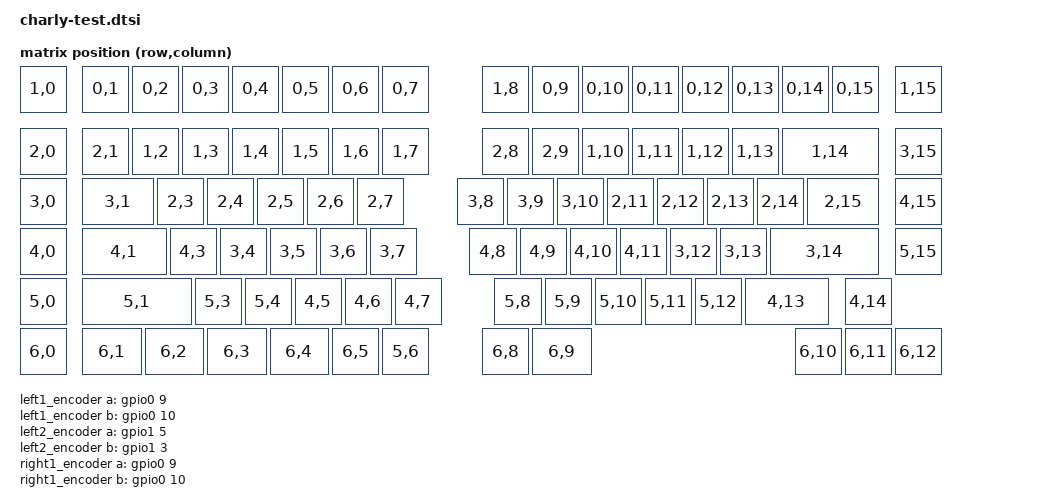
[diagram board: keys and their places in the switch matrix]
#include <dt-bindings/zmk/matrix_transform.h>
#include <dt-bindings/input/input-event-codes.h>

// chosen node
/ {
    chosen {
        zmk,kscan = &kscan0;
    };
};

//matrix transoform
/ {
    default_transform: keymap_transform0 {
        compatible = "zmk,matrix-transform";
        columns = <16>;
        rows = <7>;
        map = <
        RC(1,0) RC(0,1) RC(0,2) RC(0,3) RC(0,4) RC(0,5) RC(0,6) RC(0,7)     RC(1,8) RC(0,9) RC(0,10) RC(0,11) RC(0,12) RC(0,13) RC(0,14) RC(0,15) RC(1,15) 
        RC(2,0) RC(2,1) RC(1,2) RC(1,3) RC(1,4) RC(1,5) RC(1,6) RC(1,7)     RC(2,8) RC(2,9) RC(1,10) RC(1,11) RC(1,12) RC(1,13) RC(1,14)          RC(3,15)
        RC(3,0) RC(3,1)         RC(2,3) RC(2,4) RC(2,5) RC(2,6) RC(2,7)     RC(3,8) RC(3,9) RC(3,10) RC(2,11) RC(2,12) RC(2,13) RC(2,14) RC(2,15) RC(4,15)
        RC(4,0) RC(4,1)         RC(4,3) RC(3,4) RC(3,5) RC(3,6) RC(3,7)     RC(4,8) RC(4,9) RC(4,10) RC(4,11) RC(3,12) RC(3,13) RC(3,14)          RC(5,15)
        RC(5,0) RC(5,1)         RC(5,3) RC(5,4) RC(4,5) RC(4,6) RC(4,7)     RC(5,8) RC(5,9) RC(5,10) RC(5,11) RC(5,12) RC(4,13)          RC(4,14)
        RC(6,0)     RC(6,1) RC(6,2) RC(6,3) RC(6,4)     RC(6,5) RC(5,6)     RC(6,8) RC(6,9)                                          RC(6,10) RC(6,11) RC(6,12)
        >;
    };
};

// kscan
/ {
    kscan0: kscan0 {
        compatible = "zmk,kscan-gpio-charlieplex";
        zmk,physical-layout = &physical_layout0;
        wakeup-source;
    };
};

// 物理レイアウトの定義を新設 
/ {
    physical_layout0: physical_layout0 {
        compatible = "zmk,physical-layout";
        display-name = "Default Layout";
        transform = <&default_transform>; // 既存の transform を参照 
        kscan = <&kscan0>;                // 既存の kscan を参照 [cite: 11]
        keys
            //                w   h    x    y     rot  rx   ry
            // Row 0
            = <&key_physical_attrs 100 100    0    0     0    0    0> // R0C0
            , <&key_physical_attrs 100 100  125    0     0    0    0> // R0C1
            , <&key_physical_attrs 100 100  225    0     0    0    0> // R0C2
            , <&key_physical_attrs 100 100  325    0     0    0    0> // R0C3
            , <&key_physical_attrs 100 100  425    0     0    0    0> // R0C4
            , <&key_physical_attrs 100 100  525    0     0    0    0> // R0C5
            , <&key_physical_attrs 100 100  625    0     0    0    0> // R0C6
            , <&key_physical_attrs 100 100  725    0     0    0    0> // R0C7
            , <&key_physical_attrs 100 100  925    0     0    0    0> // R0C8
            , <&key_physical_attrs 100 100 1025    0     0    0    0> // R0C9
            , <&key_physical_attrs 100 100 1125    0     0    0    0> // R0C10
            , <&key_physical_attrs 100 100 1225    0     0    0    0> // R0C11
            , <&key_physical_attrs 100 100 1325    0     0    0    0> // R0C12
            , <&key_physical_attrs 100 100 1425    0     0    0    0> // R0C13
            , <&key_physical_attrs 100 100 1525    0     0    0    0> // R0C14
            , <&key_physical_attrs 100 100 1625    0     0    0    0> // R0C15
            , <&key_physical_attrs 100 100 1750    0     0    0    0> // R0C16

            // Row 1
            , <&key_physical_attrs 100 100    0  125     0    0    0> // R1C0
            , <&key_physical_attrs 100 100  125  125     0    0    0> // R1C1
            , <&key_physical_attrs 100 100  225  125     0    0    0> // R1C2
            , <&key_physical_attrs 100 100  325  125     0    0    0> // R1C3
            , <&key_physical_attrs 100 100  425  125     0    0    0> // R1C4
            , <&key_physical_attrs 100 100  525  125     0    0    0> // R1C5
            , <&key_physical_attrs 100 100  625  125     0    0    0> // R1C6
            , <&key_physical_attrs 100 100  725  125     0    0    0> // R1C7
            , <&key_physical_attrs 100 100  925  125     0    0    0> // R1C8
            , <&key_physical_attrs 100 100 1025  125     0    0    0> // R1C9
            , <&key_physical_attrs 100 100 1125  125     0    0    0> // R1C10
            , <&key_physical_attrs 100 100 1225  125     0    0    0> // R1C11
            , <&key_physical_attrs 100 100 1325  125     0    0    0> // R1C12
            , <&key_physical_attrs 100 100 1425  125     0    0    0> // R1C13
            , <&key_physical_attrs 200 100 1525  125     0    0    0> // R1C14 (w: 2.00)
            , <&key_physical_attrs 100 100 1750  125     0    0    0> // R1C15

            // Row 2
            , <&key_physical_attrs 100 100    0  225     0    0    0> // R2C0
            , <&key_physical_attrs 150 100  125  225     0    0    0> // R2C1 (w: 1.50)
            , <&key_physical_attrs 100 100  275  225     0    0    0> // R2C2
            , <&key_physical_attrs 100 100  375  225     0    0    0> // R2C3
            , <&key_physical_attrs 100 100  475  225     0    0    0> // R2C4
            , <&key_physical_attrs 100 100  575  225     0    0    0> // R2C5
            , <&key_physical_attrs 100 100  675  225     0    0    0> // R2C6
            , <&key_physical_attrs 100 100  875  225     0    0    0> // R2C7
            , <&key_physical_attrs 100 100  975  225     0    0    0> // R2C8
            , <&key_physical_attrs 100 100 1075  225     0    0    0> // R2C9
            , <&key_physical_attrs 100 100 1175  225     0    0    0> // R2C10
            , <&key_physical_attrs 100 100 1275  225     0    0    0> // R2C11
            , <&key_physical_attrs 100 100 1375  225     0    0    0> // R2C12
            , <&key_physical_attrs 100 100 1475  225     0    0    0> // R2C13
            , <&key_physical_attrs 150 100 1575  225     0    0    0> // R2C14 (w: 1.50)
            , <&key_physical_attrs 100 100 1750  225     0    0    0> // R2C15

            // Row 3
            , <&key_physical_attrs 100 100    0  325     0    0    0> // R3C0
            , <&key_physical_attrs 175 100  125  325     0    0    0> // R3C1 (w: 1.75)
            , <&key_physical_attrs 100 100  300  325     0    0    0> // R3C2
            , <&key_physical_attrs 100 100  400  325     0    0    0> // R3C3
            , <&key_physical_attrs 100 100  500  325     0    0    0> // R3C4
            , <&key_physical_attrs 100 100  600  325     0    0    0> // R3C5
            , <&key_physical_attrs 100 100  700  325     0    0    0> // R3C6
            , <&key_physical_attrs 100 100  900  325     0    0    0> // R3C7
            , <&key_physical_attrs 100 100 1000  325     0    0    0> // R3C8
            , <&key_physical_attrs 100 100 1100  325     0    0    0> // R3C9
            , <&key_physical_attrs 100 100 1200  325     0    0    0> // R3C10
            , <&key_physical_attrs 100 100 1300  325     0    0    0> // R3C11
            , <&key_physical_attrs 100 100 1400  325     0    0    0> // R3C12
            , <&key_physical_attrs 225 100 1500  325     0    0    0> // R3C13 (w: 2.25)
            , <&key_physical_attrs 100 100 1750  325     0    0    0> // R3C14

            // Row 4
            , <&key_physical_attrs 100 100    0  425     0    0    0> // R4C0
            , <&key_physical_attrs 225 100  125  425     0    0    0> // R4C1 (w: 2.25)
            , <&key_physical_attrs 100 100  350  425     0    0    0> // R4C2
            , <&key_physical_attrs 100 100  450  425     0    0    0> // R4C3
            , <&key_physical_attrs 100 100  550  425     0    0    0> // R4C4
            , <&key_physical_attrs 100 100  650  425     0    0    0> // R4C5
            , <&key_physical_attrs 100 100  750  425     0    0    0> // R4C6
            , <&key_physical_attrs 100 100  950  425     0    0    0> // R4C7
            , <&key_physical_attrs 100 100 1050  425     0    0    0> // R4C8
            , <&key_physical_attrs 100 100 1150  425     0    0    0> // R4C9
            , <&key_physical_attrs 100 100 1250  425     0    0    0> // R4C10
            , <&key_physical_attrs 100 100 1350  425     0    0    0> // R4C11
            , <&key_physical_attrs 175 100 1450  425     0    0    0> // R4C12 (w: 1.75)
            , <&key_physical_attrs 100 100 1650  425     0    0    0> // R4C13

            // Row 5
            , <&key_physical_attrs 100 100    0  525     0    0    0> // R5C0
            , <&key_physical_attrs 125 100  125  525     0    0    0> // R5C1 (w: 1.25)
            , <&key_physical_attrs 125 100  250  525     0    0    0> // R5C2 (w: 1.25)
            , <&key_physical_attrs 125 100  375  525     0    0    0> // R5C3 (w: 1.25)
            , <&key_physical_attrs 125 100  500  525     0    0    0> // R5C4 (w: 1.25)
            , <&key_physical_attrs 100 100  625  525     0    0    0> // R5C5
            , <&key_physical_attrs 100 100  725  525     0    0    0> // R5C6
            , <&key_physical_attrs 100 100  925  525     0    0    0> // R5C7
            , <&key_physical_attrs 125 100 1025  525     0    0    0> // R5C8 (w: 1.25)
            , <&key_physical_attrs 100 100 1550  525     0    0    0> // R5C9
            , <&key_physical_attrs 100 100 1650  525     0    0    0> // R5C10
            , <&key_physical_attrs 100 100 1750  525     0    0    0> // R5C11
            ;
    };
};

// encoder
/ {
    left1_encoder: encoder_left1 {
        compatible = "alps,ec11";
        a-gpios = <&gpio0 9 (GPIO_ACTIVE_HIGH | GPIO_PULL_UP)>;
        b-gpios = <&gpio0 10 (GPIO_ACTIVE_HIGH | GPIO_PULL_UP)>;
        steps = <24>;
        status = "disabled";
    };

    left2_encoder: encoder_left2 {
        compatible = "alps,ec11";
        a-gpios = <&gpio1 5 (GPIO_ACTIVE_HIGH | GPIO_PULL_UP)>;
        b-gpios = <&gpio1 3 (GPIO_ACTIVE_HIGH | GPIO_PULL_UP)>;
        steps = <24>;
        status = "disabled";
    };

    right1_encoder: encoder_right1 {
        compatible = "alps,ec11";
        a-gpios = <&gpio0 9 (GPIO_ACTIVE_HIGH | GPIO_PULL_UP)>;
        b-gpios = <&gpio0 10 (GPIO_ACTIVE_HIGH | GPIO_PULL_UP)>;
        steps = <24>;
        status = "disabled";
    };

    right2_encoder: encoder_right2 {
        compatible = "alps,ec11";
        a-gpios = <&gpio1 5 (GPIO_ACTIVE_HIGH | GPIO_PULL_UP)>;
        b-gpios = <&gpio1 3 (GPIO_ACTIVE_HIGH | GPIO_PULL_UP)>;
        steps = <24>;
        status = "disabled";
    };
};

//sensor
/ {
    sensors {
        compatible = "zmk,keymap-sensors";
        sensors = <&left1_encoder &left2_encoder &right1_encoder &right2_encoder>;
        triggers-per-rotation = <6>;
    };

    trackball_listener {
        compatible = "zmk,input-listener";
        device = <&trackball>;
        status = "okay";
    };
};

/* =======================
 * SPI pinctrl (必須)
 * ======================= */
&pinctrl {
    spi0_default: spi0_default {
        group1 {
            psels = <
                NRF_PSEL(SPIM_SCK,  0, 2)
                NRF_PSEL(SPIM_MOSI, 0, 3)
                NRF_PSEL(SPIM_MISO, 0, 4)
            >;
        };
    };
};

//trackball
&pinctrl {
    spi0_default: spi0_default {
        group1 {
            psels = <NRF_PSEL(SPIM_SCK, 1, 15)>,
                <NRF_PSEL(SPIM_MOSI, 1, 13)>,
                <NRF_PSEL(SPIM_MISO, 1, 13)>;
        };
    };

    spi0_sleep: spi0_sleep {
        group1 {
            psels = <NRF_PSEL(SPIM_SCK, 1, 15)>,
                <NRF_PSEL(SPIM_MOSI, 1, 13)>,
                <NRF_PSEL(SPIM_MISO, 1, 13)>;
            low-power-enable;
        };
    };
};

#include <zephyr/dt-bindings/input/input-event-codes.h>

&spi0 {
    status = "okay";
    compatible = "nordic,nrf-spim";
    pinctrl-0 = <&spi0_default>;
    pinctrl-1 = <&spi0_sleep>;
    pinctrl-names = "default", "sleep";
    cs-gpios = <&gpio1 14 GPIO_ACTIVE_LOW>;

    trackball: trackball@0 {
        status = "okay";
        compatible = "pixart,pmw3610";
        reg = <0>;
        spi-max-frequency = <2000000>;
        motion-gpios = <&gpio1 12 (GPIO_ACTIVE_LOW | GPIO_PULL_UP)>;
        res-cpi = <600>;
        // evt-type = <INPUT_EV_REL>;
        zephyr,axis-x = <INPUT_REL_X>;
        zephyr,axis-y = <INPUT_REL_Y>;
        invert-x;
        invert-y;

        force-awake;
        /* keep the sensor awake while ZMK activity state is ACTIVE,
        fallback to normal downshift mode after ZMK goes into IDLE / SLEEP mode.
        thus, the sensor would be a `wakeup-source` */
    };
};

/ {
    trackball_listener: trackball_listener {
    compatible = "zmk,input-listener";
    status = "disabled";
    device = <&trackball>;
    };
};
